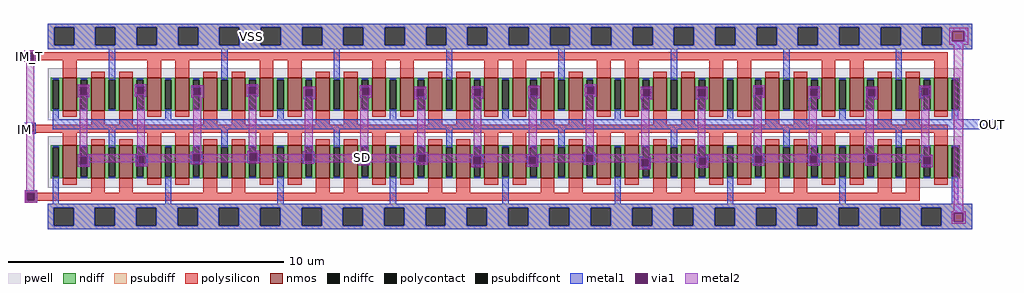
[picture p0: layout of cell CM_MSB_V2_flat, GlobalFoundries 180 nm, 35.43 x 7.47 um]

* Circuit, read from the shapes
.subckt CM_MSB_V2_flat IM_T VSS OUT IM SD
XM1 SD IM VSS VSS nfet_03v3 w=1.2u l=0.5u m=32
XM2 SD IM_T OUT VSS nfet_03v3 w=1.2u l=0.5u m=32
.ends

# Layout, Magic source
magic
tech gf180mcuC
magscale 1 10
<< pwell >>
rect 0 584 6648 960
rect 0 93 6648 469
<< nmos >>
rect 112 652 212 892
rect 316 652 416 892
rect 520 652 620 892
rect 724 652 824 892
rect 928 652 1028 892
rect 1132 652 1232 892
rect 1336 652 1436 892
rect 1540 652 1640 892
rect 1744 652 1844 892
rect 1948 652 2048 892
rect 2152 652 2252 892
rect 2356 652 2456 892
rect 2560 652 2660 892
rect 2764 652 2864 892
rect 2968 652 3068 892
rect 3172 652 3272 892
rect 3376 652 3476 892
rect 3580 652 3680 892
rect 3784 652 3884 892
rect 3988 652 4088 892
rect 4192 652 4292 892
rect 4396 652 4496 892
rect 4600 652 4700 892
rect 4804 652 4904 892
rect 5008 652 5108 892
rect 5212 652 5312 892
rect 5416 652 5516 892
rect 5620 652 5720 892
rect 5824 652 5924 892
rect 6028 652 6128 892
rect 6232 652 6332 892
rect 6436 652 6536 892
rect 112 161 212 401
rect 316 161 416 401
rect 520 161 620 401
rect 724 161 824 401
rect 928 161 1028 401
rect 1132 161 1232 401
rect 1336 161 1436 401
rect 1540 161 1640 401
rect 1744 161 1844 401
rect 1948 161 2048 401
rect 2152 161 2252 401
rect 2356 161 2456 401
rect 2560 161 2660 401
rect 2764 161 2864 401
rect 2968 161 3068 401
rect 3172 161 3272 401
rect 3376 161 3476 401
rect 3580 161 3680 401
rect 3784 161 3884 401
rect 3988 161 4088 401
rect 4192 161 4292 401
rect 4396 161 4496 401
rect 4600 161 4700 401
rect 4804 161 4904 401
rect 5008 161 5108 401
rect 5212 161 5312 401
rect 5416 161 5516 401
rect 5620 161 5720 401
rect 5824 161 5924 401
rect 6028 161 6128 401
rect 6232 161 6332 401
rect 6436 161 6536 401
<< ndiff >>
rect 24 879 112 892
rect 24 665 37 879
rect 83 665 112 879
rect 24 652 112 665
rect 212 879 316 892
rect 212 665 241 879
rect 287 665 316 879
rect 212 652 316 665
rect 416 879 520 892
rect 416 665 445 879
rect 491 665 520 879
rect 416 652 520 665
rect 620 879 724 892
rect 620 665 649 879
rect 695 665 724 879
rect 620 652 724 665
rect 824 879 928 892
rect 824 665 853 879
rect 899 665 928 879
rect 824 652 928 665
rect 1028 879 1132 892
rect 1028 665 1057 879
rect 1103 665 1132 879
rect 1028 652 1132 665
rect 1232 879 1336 892
rect 1232 665 1261 879
rect 1307 665 1336 879
rect 1232 652 1336 665
rect 1436 879 1540 892
rect 1436 665 1465 879
rect 1511 665 1540 879
rect 1436 652 1540 665
rect 1640 879 1744 892
rect 1640 665 1669 879
rect 1715 665 1744 879
rect 1640 652 1744 665
rect 1844 879 1948 892
rect 1844 665 1873 879
rect 1919 665 1948 879
rect 1844 652 1948 665
rect 2048 879 2152 892
rect 2048 665 2077 879
rect 2123 665 2152 879
rect 2048 652 2152 665
rect 2252 879 2356 892
rect 2252 665 2281 879
rect 2327 665 2356 879
rect 2252 652 2356 665
rect 2456 879 2560 892
rect 2456 665 2485 879
rect 2531 665 2560 879
rect 2456 652 2560 665
rect 2660 879 2764 892
rect 2660 665 2689 879
rect 2735 665 2764 879
rect 2660 652 2764 665
rect 2864 879 2968 892
rect 2864 665 2893 879
rect 2939 665 2968 879
rect 2864 652 2968 665
rect 3068 879 3172 892
rect 3068 665 3097 879
rect 3143 665 3172 879
rect 3068 652 3172 665
rect 3272 879 3376 892
rect 3272 665 3301 879
rect 3347 665 3376 879
rect 3272 652 3376 665
rect 3476 879 3580 892
rect 3476 665 3505 879
rect 3551 665 3580 879
rect 3476 652 3580 665
rect 3680 879 3784 892
rect 3680 665 3709 879
rect 3755 665 3784 879
rect 3680 652 3784 665
rect 3884 879 3988 892
rect 3884 665 3913 879
rect 3959 665 3988 879
rect 3884 652 3988 665
rect 4088 879 4192 892
rect 4088 665 4117 879
rect 4163 665 4192 879
rect 4088 652 4192 665
rect 4292 879 4396 892
rect 4292 665 4321 879
rect 4367 665 4396 879
rect 4292 652 4396 665
rect 4496 879 4600 892
rect 4496 665 4525 879
rect 4571 665 4600 879
rect 4496 652 4600 665
rect 4700 879 4804 892
rect 4700 665 4729 879
rect 4775 665 4804 879
rect 4700 652 4804 665
rect 4904 879 5008 892
rect 4904 665 4933 879
rect 4979 665 5008 879
rect 4904 652 5008 665
rect 5108 879 5212 892
rect 5108 665 5137 879
rect 5183 665 5212 879
rect 5108 652 5212 665
rect 5312 879 5416 892
rect 5312 665 5341 879
rect 5387 665 5416 879
rect 5312 652 5416 665
rect 5516 879 5620 892
rect 5516 665 5545 879
rect 5591 665 5620 879
rect 5516 652 5620 665
rect 5720 879 5824 892
rect 5720 665 5749 879
rect 5795 665 5824 879
rect 5720 652 5824 665
rect 5924 879 6028 892
rect 5924 665 5953 879
rect 5999 665 6028 879
rect 5924 652 6028 665
rect 6128 879 6232 892
rect 6128 665 6157 879
rect 6203 665 6232 879
rect 6128 652 6232 665
rect 6332 879 6436 892
rect 6332 665 6361 879
rect 6407 665 6436 879
rect 6332 652 6436 665
rect 6536 879 6624 892
rect 6536 665 6565 879
rect 6611 665 6624 879
rect 6536 652 6624 665
rect 24 388 112 401
rect 24 174 37 388
rect 83 174 112 388
rect 24 161 112 174
rect 212 388 316 401
rect 212 174 241 388
rect 287 174 316 388
rect 212 161 316 174
rect 416 388 520 401
rect 416 174 445 388
rect 491 174 520 388
rect 416 161 520 174
rect 620 388 724 401
rect 620 174 649 388
rect 695 174 724 388
rect 620 161 724 174
rect 824 388 928 401
rect 824 174 853 388
rect 899 174 928 388
rect 824 161 928 174
rect 1028 388 1132 401
rect 1028 174 1057 388
rect 1103 174 1132 388
rect 1028 161 1132 174
rect 1232 388 1336 401
rect 1232 174 1261 388
rect 1307 174 1336 388
rect 1232 161 1336 174
rect 1436 388 1540 401
rect 1436 174 1465 388
rect 1511 174 1540 388
rect 1436 161 1540 174
rect 1640 388 1744 401
rect 1640 174 1669 388
rect 1715 174 1744 388
rect 1640 161 1744 174
rect 1844 388 1948 401
rect 1844 174 1873 388
rect 1919 174 1948 388
rect 1844 161 1948 174
rect 2048 388 2152 401
rect 2048 174 2077 388
rect 2123 174 2152 388
rect 2048 161 2152 174
rect 2252 388 2356 401
rect 2252 174 2281 388
rect 2327 174 2356 388
rect 2252 161 2356 174
rect 2456 388 2560 401
rect 2456 174 2485 388
rect 2531 174 2560 388
rect 2456 161 2560 174
rect 2660 388 2764 401
rect 2660 174 2689 388
rect 2735 174 2764 388
rect 2660 161 2764 174
rect 2864 388 2968 401
rect 2864 174 2893 388
rect 2939 174 2968 388
rect 2864 161 2968 174
rect 3068 388 3172 401
rect 3068 174 3097 388
rect 3143 174 3172 388
rect 3068 161 3172 174
rect 3272 388 3376 401
rect 3272 174 3301 388
rect 3347 174 3376 388
rect 3272 161 3376 174
rect 3476 388 3580 401
rect 3476 174 3505 388
rect 3551 174 3580 388
rect 3476 161 3580 174
rect 3680 388 3784 401
rect 3680 174 3709 388
rect 3755 174 3784 388
rect 3680 161 3784 174
rect 3884 388 3988 401
rect 3884 174 3913 388
rect 3959 174 3988 388
rect 3884 161 3988 174
rect 4088 388 4192 401
rect 4088 174 4117 388
rect 4163 174 4192 388
rect 4088 161 4192 174
rect 4292 388 4396 401
rect 4292 174 4321 388
rect 4367 174 4396 388
rect 4292 161 4396 174
rect 4496 388 4600 401
rect 4496 174 4525 388
rect 4571 174 4600 388
rect 4496 161 4600 174
rect 4700 388 4804 401
rect 4700 174 4729 388
rect 4775 174 4804 388
rect 4700 161 4804 174
rect 4904 388 5008 401
rect 4904 174 4933 388
rect 4979 174 5008 388
rect 4904 161 5008 174
rect 5108 388 5212 401
rect 5108 174 5137 388
rect 5183 174 5212 388
rect 5108 161 5212 174
rect 5312 388 5416 401
rect 5312 174 5341 388
rect 5387 174 5416 388
rect 5312 161 5416 174
rect 5516 388 5620 401
rect 5516 174 5545 388
rect 5591 174 5620 388
rect 5516 161 5620 174
rect 5720 388 5824 401
rect 5720 174 5749 388
rect 5795 174 5824 388
rect 5720 161 5824 174
rect 5924 388 6028 401
rect 5924 174 5953 388
rect 5999 174 6028 388
rect 5924 161 6028 174
rect 6128 388 6232 401
rect 6128 174 6157 388
rect 6203 174 6232 388
rect 6128 161 6232 174
rect 6332 388 6436 401
rect 6332 174 6361 388
rect 6407 174 6436 388
rect 6332 161 6436 174
rect 6536 388 6624 401
rect 6536 174 6565 388
rect 6611 174 6624 388
rect 6536 161 6624 174
<< ndiffc >>
rect 37 665 83 879
rect 241 665 287 879
rect 445 665 491 879
rect 649 665 695 879
rect 853 665 899 879
rect 1057 665 1103 879
rect 1261 665 1307 879
rect 1465 665 1511 879
rect 1669 665 1715 879
rect 1873 665 1919 879
rect 2077 665 2123 879
rect 2281 665 2327 879
rect 2485 665 2531 879
rect 2689 665 2735 879
rect 2893 665 2939 879
rect 3097 665 3143 879
rect 3301 665 3347 879
rect 3505 665 3551 879
rect 3709 665 3755 879
rect 3913 665 3959 879
rect 4117 665 4163 879
rect 4321 665 4367 879
rect 4525 665 4571 879
rect 4729 665 4775 879
rect 4933 665 4979 879
rect 5137 665 5183 879
rect 5341 665 5387 879
rect 5545 665 5591 879
rect 5749 665 5795 879
rect 5953 665 5999 879
rect 6157 665 6203 879
rect 6361 665 6407 879
rect 6565 665 6611 879
rect 37 174 83 388
rect 241 174 287 388
rect 445 174 491 388
rect 649 174 695 388
rect 853 174 899 388
rect 1057 174 1103 388
rect 1261 174 1307 388
rect 1465 174 1511 388
rect 1669 174 1715 388
rect 1873 174 1919 388
rect 2077 174 2123 388
rect 2281 174 2327 388
rect 2485 174 2531 388
rect 2689 174 2735 388
rect 2893 174 2939 388
rect 3097 174 3143 388
rect 3301 174 3347 388
rect 3505 174 3551 388
rect 3709 174 3755 388
rect 3913 174 3959 388
rect 4117 174 4163 388
rect 4321 174 4367 388
rect 4525 174 4571 388
rect 4729 174 4775 388
rect 4933 174 4979 388
rect 5137 174 5183 388
rect 5341 174 5387 388
rect 5545 174 5591 388
rect 5749 174 5795 388
rect 5953 174 5999 388
rect 6157 174 6203 388
rect 6361 174 6407 388
rect 6565 174 6611 388
<< psubdiff >>
rect 0 1259 6715 1285
rect 0 1128 48 1259
rect 193 1128 348 1259
rect 493 1128 648 1259
rect 793 1128 948 1259
rect 1093 1128 1248 1259
rect 1393 1128 1548 1259
rect 1693 1128 1848 1259
rect 1993 1128 2148 1259
rect 2293 1128 2448 1259
rect 2593 1128 2748 1259
rect 2893 1128 3048 1259
rect 3193 1128 3348 1259
rect 3493 1128 3648 1259
rect 3793 1128 3948 1259
rect 4093 1128 4248 1259
rect 4393 1128 4548 1259
rect 4693 1128 4848 1259
rect 4993 1128 5148 1259
rect 5293 1128 5448 1259
rect 5593 1128 5748 1259
rect 5893 1128 6048 1259
rect 6193 1128 6348 1259
rect 6493 1128 6715 1259
rect 0 1098 6715 1128
rect 0 -50 6715 -21
rect 0 -181 44 -50
rect 189 -181 344 -50
rect 489 -181 644 -50
rect 789 -181 944 -50
rect 1089 -181 1244 -50
rect 1389 -181 1544 -50
rect 1689 -181 1844 -50
rect 1989 -181 2144 -50
rect 2289 -181 2444 -50
rect 2589 -181 2744 -50
rect 2889 -181 3044 -50
rect 3189 -181 3344 -50
rect 3489 -181 3644 -50
rect 3789 -181 3944 -50
rect 4089 -181 4244 -50
rect 4389 -181 4544 -50
rect 4689 -181 4844 -50
rect 4989 -181 5144 -50
rect 5289 -181 5444 -50
rect 5589 -181 5744 -50
rect 5889 -181 6044 -50
rect 6189 -181 6344 -50
rect 6489 -181 6715 -50
rect 0 -208 6715 -181
<< psubdiffcont >>
rect 48 1128 193 1259
rect 348 1128 493 1259
rect 648 1128 793 1259
rect 948 1128 1093 1259
rect 1248 1128 1393 1259
rect 1548 1128 1693 1259
rect 1848 1128 1993 1259
rect 2148 1128 2293 1259
rect 2448 1128 2593 1259
rect 2748 1128 2893 1259
rect 3048 1128 3193 1259
rect 3348 1128 3493 1259
rect 3648 1128 3793 1259
rect 3948 1128 4093 1259
rect 4248 1128 4393 1259
rect 4548 1128 4693 1259
rect 4848 1128 4993 1259
rect 5148 1128 5293 1259
rect 5448 1128 5593 1259
rect 5748 1128 5893 1259
rect 6048 1128 6193 1259
rect 6348 1128 6493 1259
rect 44 -181 189 -50
rect 344 -181 489 -50
rect 644 -181 789 -50
rect 944 -181 1089 -50
rect 1244 -181 1389 -50
rect 1544 -181 1689 -50
rect 1844 -181 1989 -50
rect 2144 -181 2289 -50
rect 2444 -181 2589 -50
rect 2744 -181 2889 -50
rect 3044 -181 3189 -50
rect 3344 -181 3489 -50
rect 3644 -181 3789 -50
rect 3944 -181 4089 -50
rect 4244 -181 4389 -50
rect 4544 -181 4689 -50
rect 4844 -181 4989 -50
rect 5144 -181 5289 -50
rect 5444 -181 5589 -50
rect 5744 -181 5889 -50
rect 6044 -181 6189 -50
rect 6344 -181 6489 -50
<< polysilicon >>
rect -168 1077 -82 1091
rect -168 1073 6536 1077
rect -168 1024 -150 1073
rect -102 1024 6536 1073
rect -168 1019 6536 1024
rect -168 1008 -82 1019
rect 112 892 212 1019
rect 316 892 416 936
rect 520 892 620 936
rect 724 892 824 1019
rect 928 892 1028 1019
rect 1132 892 1232 936
rect 1336 892 1436 936
rect 1540 892 1640 1019
rect 1744 892 1844 1019
rect 1948 892 2048 936
rect 2152 892 2252 936
rect 2356 892 2456 1019
rect 2560 892 2660 1019
rect 2764 892 2864 936
rect 2968 892 3068 936
rect 3172 892 3272 1019
rect 3376 892 3476 1019
rect 3580 892 3680 936
rect 3784 892 3884 936
rect 3988 892 4088 1019
rect 4192 892 4292 1019
rect 4396 892 4496 936
rect 4600 892 4700 936
rect 4804 892 4904 1019
rect 5008 892 5108 1019
rect 5212 892 5312 936
rect 5416 892 5516 936
rect 5620 892 5720 1019
rect 5824 892 5924 1019
rect 6028 892 6128 936
rect 6232 892 6332 936
rect 6436 892 6536 1019
rect 112 608 212 652
rect -171 553 -84 566
rect 316 553 416 652
rect 520 553 620 652
rect 724 608 824 652
rect 928 608 1028 652
rect 1132 553 1232 652
rect 1336 553 1436 652
rect 1540 608 1640 652
rect 1744 608 1844 652
rect 1948 553 2048 652
rect 2152 553 2252 652
rect 2356 608 2456 652
rect 2560 608 2660 652
rect 2764 553 2864 652
rect 2968 553 3068 652
rect 3172 608 3272 652
rect 3376 608 3476 652
rect 3580 553 3680 652
rect 3784 553 3884 652
rect 3988 608 4088 652
rect 4192 608 4292 652
rect 4396 553 4496 652
rect 4600 553 4700 652
rect 4804 608 4904 652
rect 5008 608 5108 652
rect 5212 553 5312 652
rect 5416 553 5516 652
rect 5620 608 5720 652
rect 5824 608 5924 652
rect 6028 553 6128 652
rect 6232 553 6332 652
rect 6436 608 6536 652
rect -171 552 6536 553
rect -171 499 -158 552
rect -102 499 6536 552
rect -171 494 6536 499
rect -171 485 -84 494
rect 112 401 212 494
rect 316 401 416 445
rect 520 401 620 445
rect 724 401 824 494
rect 928 401 1028 494
rect 1132 401 1232 445
rect 1336 401 1436 445
rect 1540 401 1640 494
rect 1744 401 1844 494
rect 1948 401 2048 445
rect 2152 401 2252 445
rect 2356 401 2456 494
rect 2560 401 2660 494
rect 2764 401 2864 445
rect 2968 401 3068 445
rect 3172 401 3272 494
rect 3376 401 3476 494
rect 3580 401 3680 445
rect 3784 401 3884 445
rect 3988 401 4088 494
rect 4192 401 4292 494
rect 4396 401 4496 445
rect 4600 401 4700 445
rect 4804 401 4904 494
rect 5008 401 5108 494
rect 5212 401 5312 445
rect 5416 401 5516 445
rect 5620 401 5720 494
rect 5824 401 5924 494
rect 6028 401 6128 445
rect 6232 401 6332 445
rect 6436 401 6536 494
rect 112 117 212 161
rect -166 58 -74 74
rect 316 58 416 161
rect 520 58 620 161
rect 724 117 824 161
rect 928 117 1028 161
rect 1132 58 1232 161
rect 1336 58 1436 161
rect 1540 117 1640 161
rect 1744 117 1844 161
rect 1948 58 2048 161
rect 2152 58 2252 161
rect 2356 117 2456 161
rect 2560 117 2660 161
rect 2764 58 2864 161
rect 2968 58 3068 161
rect 3172 117 3272 161
rect 3376 117 3476 161
rect 3580 58 3680 161
rect 3784 58 3884 161
rect 3988 117 4088 161
rect 4192 117 4292 161
rect 4396 58 4496 161
rect 4600 58 4700 161
rect 4804 117 4904 161
rect 5008 117 5108 161
rect 5212 58 5312 161
rect 5416 58 5516 161
rect 5620 117 5720 161
rect 5824 117 5924 161
rect 6028 58 6128 161
rect 6232 58 6332 161
rect 6436 117 6536 161
rect -166 53 6332 58
rect -166 2 -150 53
rect -102 2 6332 53
rect -166 -1 6332 2
rect -166 -14 -74 -1
<< polycontact >>
rect -150 1024 -102 1073
rect -158 499 -102 552
rect -150 2 -102 53
<< metal1 >>
rect 0 1259 6715 1285
rect 0 1128 48 1259
rect 193 1128 348 1259
rect 493 1128 648 1259
rect 793 1128 948 1259
rect 1093 1128 1248 1259
rect 1393 1128 1548 1259
rect 1693 1128 1848 1259
rect 1993 1128 2148 1259
rect 2293 1128 2448 1259
rect 2593 1128 2748 1259
rect 2893 1128 3048 1259
rect 3193 1128 3348 1259
rect 3493 1128 3648 1259
rect 3793 1128 3948 1259
rect 4093 1128 4248 1259
rect 4393 1128 4548 1259
rect 4693 1128 4848 1259
rect 4993 1128 5148 1259
rect 5293 1128 5448 1259
rect 5593 1128 5748 1259
rect 5893 1128 6048 1259
rect 6193 1128 6348 1259
rect 6493 1230 6715 1259
rect 6493 1158 6567 1230
rect 6656 1158 6715 1230
rect 6493 1128 6715 1158
rect 0 1098 6715 1128
rect -168 1076 -82 1091
rect -168 1020 -155 1076
rect -99 1020 -82 1076
rect -168 1008 -82 1020
rect 37 879 83 890
rect 241 879 287 890
rect 219 826 241 843
rect 445 879 491 1098
rect 287 826 304 843
rect 219 766 233 826
rect 290 766 304 826
rect 219 752 241 766
rect 37 591 83 665
rect 287 752 304 766
rect 241 654 287 665
rect 649 879 695 890
rect 632 830 649 844
rect 853 879 899 890
rect 695 830 717 844
rect 632 771 647 830
rect 702 771 717 830
rect 632 753 649 771
rect 445 654 491 665
rect 695 753 717 771
rect 649 654 695 665
rect 1057 879 1103 890
rect 1044 748 1057 838
rect 1261 879 1307 1098
rect 1103 824 1129 838
rect 1114 765 1129 824
rect 853 591 899 665
rect 1103 748 1129 765
rect 1057 654 1103 665
rect 1465 879 1511 890
rect 1444 830 1465 844
rect 1669 879 1715 890
rect 1511 830 1529 844
rect 1444 771 1459 830
rect 1514 771 1529 830
rect 1444 753 1465 771
rect 1261 654 1307 665
rect 1511 753 1529 771
rect 1465 654 1511 665
rect 1873 879 1919 890
rect 1857 812 1873 826
rect 2077 879 2123 1098
rect 1919 812 1942 826
rect 1857 753 1872 812
rect 1927 753 1942 812
rect 1857 735 1873 753
rect 1669 591 1715 665
rect 1919 735 1942 753
rect 1873 654 1919 665
rect 2281 879 2327 890
rect 2267 746 2281 837
rect 2485 879 2531 890
rect 2327 823 2352 837
rect 2337 764 2352 823
rect 2077 654 2123 665
rect 2327 746 2352 764
rect 2281 654 2327 665
rect 2689 879 2735 890
rect 2664 812 2689 826
rect 2893 879 2939 1098
rect 2664 753 2679 812
rect 2664 735 2689 753
rect 2485 591 2531 665
rect 2735 735 2749 826
rect 2689 654 2735 665
rect 3097 879 3143 890
rect 3079 817 3097 831
rect 3301 879 3347 890
rect 3143 817 3164 831
rect 3079 758 3094 817
rect 3149 758 3164 817
rect 3079 740 3097 758
rect 2893 654 2939 665
rect 3143 740 3164 758
rect 3097 654 3143 665
rect 3505 879 3551 890
rect 3490 743 3505 834
rect 3709 879 3755 1098
rect 3551 820 3575 834
rect 3560 761 3575 820
rect 3301 591 3347 665
rect 3551 743 3575 761
rect 3505 654 3551 665
rect 3913 879 3959 890
rect 3900 753 3913 844
rect 4117 879 4163 890
rect 3959 830 3985 844
rect 3970 771 3985 830
rect 3709 654 3755 665
rect 3959 753 3985 771
rect 3913 654 3959 665
rect 4321 879 4367 890
rect 4305 812 4321 826
rect 4525 879 4571 1098
rect 4367 812 4390 826
rect 4305 753 4320 812
rect 4375 753 4390 812
rect 4305 735 4321 753
rect 4117 591 4163 665
rect 4367 735 4390 753
rect 4321 654 4367 665
rect 4729 879 4775 890
rect 4707 812 4729 826
rect 4933 879 4979 890
rect 4775 812 4792 826
rect 4707 753 4722 812
rect 4777 753 4792 812
rect 4707 735 4729 753
rect 4525 654 4571 665
rect 4775 735 4792 753
rect 4729 654 4775 665
rect 5137 879 5183 890
rect 5123 748 5137 839
rect 5341 879 5387 1098
rect 5183 825 5208 839
rect 5193 766 5208 825
rect 4933 591 4979 665
rect 5183 748 5208 766
rect 5137 654 5183 665
rect 5545 879 5591 890
rect 5523 817 5545 831
rect 5749 879 5795 890
rect 5591 817 5608 831
rect 5523 758 5538 817
rect 5593 758 5608 817
rect 5523 740 5545 758
rect 5341 654 5387 665
rect 5591 740 5608 758
rect 5545 654 5591 665
rect 5953 879 5999 890
rect 5940 737 5953 828
rect 6157 879 6203 1098
rect 5999 814 6025 828
rect 6010 755 6025 814
rect 5749 591 5795 665
rect 5999 737 6025 755
rect 5953 654 5999 665
rect 6361 879 6407 890
rect 6328 820 6361 834
rect 6565 879 6611 890
rect 6328 761 6343 820
rect 6328 743 6361 761
rect 6157 654 6203 665
rect 6407 743 6413 834
rect 6361 654 6407 665
rect 6565 591 6611 665
rect -171 552 -84 566
rect -171 499 -158 552
rect -102 499 -84 552
rect 37 519 6915 591
rect -171 485 -84 499
rect 37 388 83 399
rect 241 388 287 399
rect 221 321 241 338
rect 445 388 491 519
rect 287 321 306 338
rect 221 262 235 321
rect 290 262 306 321
rect 221 247 241 262
rect -166 58 -74 74
rect -166 1 -151 58
rect -94 1 -74 58
rect -166 -14 -74 1
rect 37 -21 83 174
rect 287 247 306 262
rect 241 163 287 174
rect 649 388 695 399
rect 642 249 649 340
rect 853 388 899 399
rect 695 326 727 340
rect 712 267 727 326
rect 445 163 491 174
rect 695 249 727 267
rect 649 163 695 174
rect 1057 388 1103 399
rect 1038 342 1057 356
rect 1261 388 1307 519
rect 1103 342 1123 356
rect 1038 283 1053 342
rect 1108 283 1123 342
rect 1038 265 1057 283
rect 853 -21 899 174
rect 1103 265 1123 283
rect 1057 163 1103 174
rect 1465 388 1511 399
rect 1451 270 1465 361
rect 1669 388 1715 399
rect 1511 347 1536 361
rect 1521 288 1536 347
rect 1261 163 1307 174
rect 1511 270 1536 288
rect 1465 163 1511 174
rect 1873 388 1919 399
rect 1851 345 1873 359
rect 2077 388 2123 519
rect 1919 345 1936 359
rect 1851 286 1866 345
rect 1921 286 1936 345
rect 1851 268 1873 286
rect 1669 -21 1715 174
rect 1919 268 1936 286
rect 1873 163 1919 174
rect 2281 388 2327 399
rect 2254 335 2281 349
rect 2485 388 2531 399
rect 2254 276 2269 335
rect 2254 258 2281 276
rect 2077 163 2123 174
rect 2327 258 2339 349
rect 2281 163 2327 174
rect 2689 388 2735 399
rect 2677 260 2689 351
rect 2893 388 2939 519
rect 2735 337 2762 351
rect 2747 278 2762 337
rect 2485 -21 2531 174
rect 2735 260 2762 278
rect 2689 163 2735 174
rect 3097 388 3143 399
rect 3077 321 3097 335
rect 3301 388 3347 399
rect 3143 321 3162 335
rect 3077 262 3092 321
rect 3147 262 3162 321
rect 3077 244 3097 262
rect 2893 163 2939 174
rect 3143 244 3162 262
rect 3097 163 3143 174
rect 3505 388 3551 399
rect 3486 336 3505 338
rect 3479 322 3505 336
rect 3709 388 3755 519
rect 3551 336 3562 338
rect 3479 263 3494 322
rect 3479 245 3505 263
rect 3301 -21 3347 174
rect 3551 245 3564 336
rect 3505 163 3551 174
rect 3913 388 3959 399
rect 3892 337 3913 351
rect 4117 388 4163 399
rect 3959 337 3977 351
rect 3892 278 3907 337
rect 3962 278 3977 337
rect 3892 260 3913 278
rect 3709 163 3755 174
rect 3959 260 3977 278
rect 3913 163 3959 174
rect 4321 388 4367 399
rect 4295 306 4321 320
rect 4525 388 4571 519
rect 4295 247 4310 306
rect 4295 229 4321 247
rect 4117 -21 4163 174
rect 4367 229 4380 320
rect 4321 163 4367 174
rect 4729 388 4775 399
rect 4712 316 4729 330
rect 4933 388 4979 399
rect 4775 316 4797 330
rect 4712 257 4727 316
rect 4782 257 4797 316
rect 4712 239 4729 257
rect 4525 163 4571 174
rect 4775 239 4797 257
rect 4729 163 4775 174
rect 5137 388 5183 399
rect 5120 329 5137 343
rect 5341 388 5387 519
rect 5183 329 5205 343
rect 5120 270 5135 329
rect 5190 270 5205 329
rect 5120 252 5137 270
rect 4933 -21 4979 174
rect 5183 252 5205 270
rect 5137 163 5183 174
rect 5545 388 5591 399
rect 5520 331 5545 345
rect 5749 388 5795 399
rect 5520 272 5535 331
rect 5520 254 5545 272
rect 5341 163 5387 174
rect 5591 254 5605 345
rect 5545 163 5591 174
rect 5953 388 5999 399
rect 5935 332 5953 346
rect 6157 388 6203 519
rect 5999 332 6020 346
rect 5935 273 5950 332
rect 6005 273 6020 332
rect 5935 255 5953 273
rect 5749 -21 5795 174
rect 5999 255 6020 273
rect 5953 163 5999 174
rect 6361 388 6407 399
rect 6343 319 6361 333
rect 6565 388 6611 399
rect 6407 319 6428 333
rect 6343 260 6358 319
rect 6413 260 6428 319
rect 6343 242 6361 260
rect 6157 163 6203 174
rect 6407 242 6428 260
rect 6361 163 6407 174
rect 6565 -21 6611 174
rect 0 -50 6715 -21
rect 0 -181 44 -50
rect 189 -181 344 -50
rect 489 -181 644 -50
rect 789 -181 944 -50
rect 1089 -181 1244 -50
rect 1389 -181 1544 -50
rect 1689 -181 1844 -50
rect 1989 -181 2144 -50
rect 2289 -181 2444 -50
rect 2589 -181 2744 -50
rect 2889 -181 3044 -50
rect 3189 -181 3344 -50
rect 3489 -181 3644 -50
rect 3789 -181 3944 -50
rect 4089 -181 4244 -50
rect 4389 -181 4544 -50
rect 4689 -181 4844 -50
rect 4989 -181 5144 -50
rect 5289 -181 5444 -50
rect 5589 -181 5744 -50
rect 5889 -181 6044 -50
rect 6189 -181 6344 -50
rect 6489 -86 6715 -50
rect 6489 -153 6581 -86
rect 6648 -153 6715 -86
rect 6489 -181 6715 -153
rect 0 -208 6715 -181
<< via1 >>
rect 6567 1158 6656 1230
rect -155 1073 -99 1076
rect -155 1024 -150 1073
rect -150 1024 -102 1073
rect -102 1024 -99 1073
rect -155 1020 -99 1024
rect 233 766 241 826
rect 241 766 287 826
rect 287 766 290 826
rect 647 771 649 830
rect 649 771 695 830
rect 695 771 702 830
rect 1059 765 1103 824
rect 1103 765 1114 824
rect 1459 771 1465 830
rect 1465 771 1511 830
rect 1511 771 1514 830
rect 1872 753 1873 812
rect 1873 753 1919 812
rect 1919 753 1927 812
rect 2282 764 2327 823
rect 2327 764 2337 823
rect 2679 753 2689 812
rect 2689 753 2734 812
rect 3094 758 3097 817
rect 3097 758 3143 817
rect 3143 758 3149 817
rect 3505 761 3551 820
rect 3551 761 3560 820
rect 3915 771 3959 830
rect 3959 771 3970 830
rect 4320 753 4321 812
rect 4321 753 4367 812
rect 4367 753 4375 812
rect 4722 753 4729 812
rect 4729 753 4775 812
rect 4775 753 4777 812
rect 5138 766 5183 825
rect 5183 766 5193 825
rect 5538 758 5545 817
rect 5545 758 5591 817
rect 5591 758 5593 817
rect 5955 755 5999 814
rect 5999 755 6010 814
rect 6343 761 6361 820
rect 6361 761 6398 820
rect 235 262 241 321
rect 241 262 287 321
rect 287 262 290 321
rect -151 53 -94 58
rect -151 2 -150 53
rect -150 2 -102 53
rect -102 2 -94 53
rect -151 1 -94 2
rect 657 267 695 326
rect 695 267 712 326
rect 1053 283 1057 342
rect 1057 283 1103 342
rect 1103 283 1108 342
rect 1466 288 1511 347
rect 1511 288 1521 347
rect 1866 286 1873 345
rect 1873 286 1919 345
rect 1919 286 1921 345
rect 2269 276 2281 335
rect 2281 276 2324 335
rect 2692 278 2735 337
rect 2735 278 2747 337
rect 3092 262 3097 321
rect 3097 262 3143 321
rect 3143 262 3147 321
rect 3494 263 3505 322
rect 3505 263 3549 322
rect 3907 278 3913 337
rect 3913 278 3959 337
rect 3959 278 3962 337
rect 4310 247 4321 306
rect 4321 247 4365 306
rect 4727 257 4729 316
rect 4729 257 4775 316
rect 4775 257 4782 316
rect 5135 270 5137 329
rect 5137 270 5183 329
rect 5183 270 5190 329
rect 5535 272 5545 331
rect 5545 272 5590 331
rect 5950 273 5953 332
rect 5953 273 5999 332
rect 5999 273 6005 332
rect 6358 260 6361 319
rect 6361 260 6407 319
rect 6407 260 6413 319
rect 6581 -153 6648 -86
<< metal2 >>
rect 6547 1230 6686 1257
rect 6547 1158 6567 1230
rect 6656 1158 6686 1230
rect 6547 1133 6686 1158
rect -168 1076 -82 1091
rect -168 1020 -155 1076
rect -99 1020 -82 1076
rect -168 1008 -82 1020
rect -156 74 -98 1008
rect 219 826 304 843
rect 219 766 233 826
rect 290 766 304 826
rect 219 752 304 766
rect 632 830 717 844
rect 632 771 647 830
rect 702 771 717 830
rect 632 753 717 771
rect 1044 824 1129 838
rect 1044 765 1059 824
rect 1114 765 1129 824
rect 233 338 290 752
rect 650 340 707 753
rect 1044 748 1129 765
rect 1444 830 1529 844
rect 1444 771 1459 830
rect 1514 771 1529 830
rect 1444 753 1529 771
rect 1857 812 1942 826
rect 1857 753 1872 812
rect 1927 753 1942 812
rect 1058 356 1115 748
rect 1459 361 1516 753
rect 1857 735 1942 753
rect 2267 823 2352 837
rect 2267 764 2282 823
rect 2337 764 2352 823
rect 2267 746 2352 764
rect 2664 812 2749 826
rect 2664 753 2679 812
rect 2734 753 2749 812
rect 1038 342 1123 356
rect 221 336 306 338
rect 642 336 727 340
rect 1038 336 1053 342
rect 221 326 1053 336
rect 221 321 657 326
rect 221 262 235 321
rect 290 279 657 321
rect 290 262 306 279
rect 221 247 306 262
rect 642 267 657 279
rect 712 283 1053 326
rect 1108 336 1123 342
rect 1451 347 1536 361
rect 1867 359 1924 735
rect 1451 336 1466 347
rect 1108 288 1466 336
rect 1521 336 1536 347
rect 1851 345 1936 359
rect 2270 349 2327 746
rect 2664 735 2749 753
rect 3079 817 3164 831
rect 3079 758 3094 817
rect 3149 758 3164 817
rect 3079 740 3164 758
rect 3490 820 3575 834
rect 3490 761 3505 820
rect 3560 761 3575 820
rect 3490 743 3575 761
rect 3900 830 3985 844
rect 3900 771 3915 830
rect 3970 771 3985 830
rect 3900 753 3985 771
rect 4305 812 4390 826
rect 4305 753 4320 812
rect 4375 753 4390 812
rect 2684 351 2741 735
rect 1851 336 1866 345
rect 1521 288 1866 336
rect 1108 286 1866 288
rect 1921 336 1936 345
rect 2254 336 2339 349
rect 2677 337 2762 351
rect 2677 336 2692 337
rect 1921 335 2692 336
rect 1921 286 2269 335
rect 1108 283 2269 286
rect 712 279 2269 283
rect 712 267 727 279
rect 642 249 727 267
rect 1038 265 1123 279
rect 1451 270 1536 279
rect 1851 268 1936 279
rect 2254 276 2269 279
rect 2324 279 2692 335
rect 2324 276 2339 279
rect 2254 258 2339 276
rect 2677 278 2692 279
rect 2747 336 2762 337
rect 3093 336 3150 740
rect 3495 336 3552 743
rect 3909 351 3966 753
rect 4305 735 4390 753
rect 4707 812 4792 826
rect 4707 753 4722 812
rect 4777 753 4792 812
rect 4707 735 4792 753
rect 5123 825 5208 839
rect 5123 766 5138 825
rect 5193 766 5208 825
rect 5123 748 5208 766
rect 5523 817 5608 831
rect 5523 758 5538 817
rect 5593 758 5608 817
rect 3892 337 3977 351
rect 3892 336 3907 337
rect 2747 322 3907 336
rect 2747 321 3494 322
rect 2747 279 3092 321
rect 2747 278 2762 279
rect 2677 260 2762 278
rect 3077 262 3092 279
rect 3147 279 3494 321
rect 3147 262 3162 279
rect 3077 244 3162 262
rect 3479 263 3494 279
rect 3549 279 3907 322
rect 3549 263 3564 279
rect 3479 245 3564 263
rect 3892 278 3907 279
rect 3962 336 3977 337
rect 4311 336 4368 735
rect 4719 336 4776 735
rect 5128 343 5185 748
rect 5523 740 5608 758
rect 5940 814 6025 828
rect 5940 755 5955 814
rect 6010 755 6025 814
rect 5526 345 5583 740
rect 5940 737 6025 755
rect 6328 820 6413 834
rect 6328 761 6343 820
rect 6398 761 6413 820
rect 6328 743 6413 761
rect 5942 346 5999 737
rect 5120 336 5205 343
rect 5520 336 5605 345
rect 5935 336 6020 346
rect 6345 336 6402 743
rect 3962 333 6402 336
rect 3962 332 6428 333
rect 3962 331 5950 332
rect 3962 329 5535 331
rect 3962 316 5135 329
rect 3962 306 4727 316
rect 3962 279 4310 306
rect 3962 278 3977 279
rect 3892 260 3977 278
rect 4295 247 4310 279
rect 4365 279 4727 306
rect 4365 247 4380 279
rect 4295 229 4380 247
rect 4712 257 4727 279
rect 4782 279 5135 316
rect 4782 257 4797 279
rect 4712 239 4797 257
rect 5120 270 5135 279
rect 5190 279 5535 329
rect 5190 270 5205 279
rect 5120 252 5205 270
rect 5520 272 5535 279
rect 5590 279 5950 331
rect 5590 272 5605 279
rect 5520 254 5605 272
rect 5935 273 5950 279
rect 6005 319 6428 332
rect 6005 279 6358 319
rect 6005 273 6020 279
rect 5935 255 6020 273
rect 6343 260 6358 279
rect 6413 260 6428 319
rect 6343 242 6428 260
rect -166 58 -74 74
rect -166 1 -151 58
rect -94 1 -74 58
rect -166 -14 -74 1
rect 6581 -75 6648 1133
rect 6564 -86 6667 -75
rect 6564 -153 6581 -86
rect 6648 -153 6667 -86
rect 6564 -168 6667 -153
<< labels >>
flabel via1 -133 1049 -133 1049 0 FreeSans 1600 0 0 0 IM_T
port 0 nsew
flabel metal1 1480 1192 1480 1192 0 FreeSans 1600 0 0 0 VSS
port 2 nsew
flabel metal1 6857 556 6857 556 0 FreeSans 1600 0 0 0 OUT
port 3 nsew
flabel metal1 -164 520 -164 520 0 FreeSans 1600 0 0 0 IM
port 4 nsew
flabel via1 2290 310 2290 310 0 FreeSans 1600 0 0 0 SD
port 5 nsew
<< end >>
